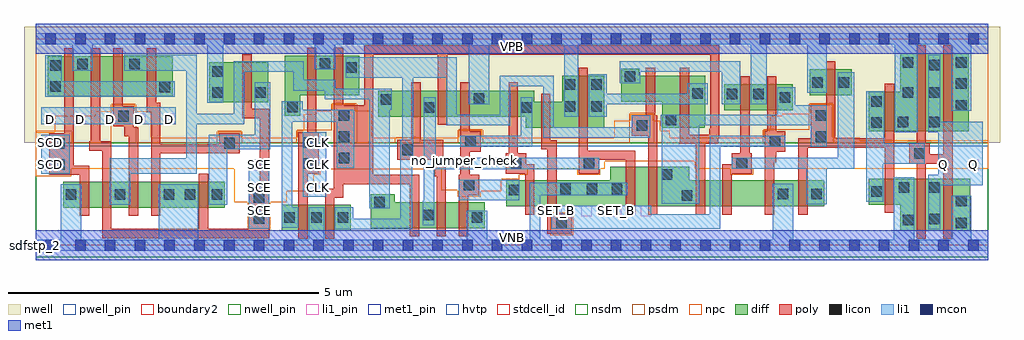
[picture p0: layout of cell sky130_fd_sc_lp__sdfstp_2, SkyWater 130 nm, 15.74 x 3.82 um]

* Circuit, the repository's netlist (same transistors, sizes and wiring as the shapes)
* Copyright 2020 The SkyWater PDK Authors
*
* Licensed under the Apache License, Version 2.0 (the "License");
* you may not use this file except in compliance with the License.
* You may obtain a copy of the License at
*
*     https://www.apache.org/licenses/LICENSE-2.0
*
* Unless required by applicable law or agreed to in writing, software
* distributed under the License is distributed on an "AS IS" BASIS,
* WITHOUT WARRANTIES OR CONDITIONS OF ANY KIND, either express or implied.
* See the License for the specific language governing permissions and
* limitations under the License.
*
* SPDX-License-Identifier: Apache-2.0

.SUBCKT sky130_fd_sc_lp__sdfstp_2 CLK D SCD SCE SET_B VGND VNB VPB VPWR Q
*.PININFO CLK:I D:I SCD:I SCE:I SET_B:I VGND:I VNB:I VPB:I VPWR:I Q:O
MI645 sceb SCE VPWR VPB sky130_fd_pr__pfet_01v8_hvt m=1 w=0.64U l=0.15U mult=1
+ sa=0.265 sb=0.265 sd=0.28 area=0.063 perim=1.14
MI658 M1 M0 VPWR VPB sky130_fd_pr__pfet_01v8_hvt m=1 w=0.42U l=0.15U mult=1 sa=0.265
+ sb=0.265 sd=0.28 area=0.063 perim=1.14
MI47 clkpos clkneg VPWR VPB sky130_fd_pr__pfet_01v8_hvt m=1 w=0.64U l=0.15U mult=1
+ sa=0.265 sb=0.265 sd=0.28 area=0.063 perim=1.14
MI663 net165 S0 VPWR VPB sky130_fd_pr__pfet_01v8_hvt m=1 w=0.64U l=0.15U mult=1
+ sa=0.265 sb=0.265 sd=0.28 area=0.063 perim=1.14
MI660 Q net165 VPWR VPB sky130_fd_pr__pfet_01v8_hvt m=2 w=1.26U l=0.15U mult=1
+ sa=0.265 sb=0.265 sd=0.28 area=0.063 perim=1.14
MI659 M1 SET_B VPWR VPB sky130_fd_pr__pfet_01v8_hvt m=1 w=0.42U l=0.15U mult=1
+ sa=0.265 sb=0.265 sd=0.28 area=0.063 perim=1.14
MI662 net109 M1 VPWR VPB sky130_fd_pr__pfet_01v8_hvt m=1 w=0.42U l=0.15U mult=1
+ sa=0.265 sb=0.265 sd=0.28 area=0.063 perim=1.14
MI664 M0 clkneg net109 VPB sky130_fd_pr__pfet_01v8_hvt m=1 w=0.42U l=0.15U mult=1
+ sa=0.265 sb=0.265 sd=0.28 area=0.063 perim=1.14
MI6 net96 S1 VPWR VPB sky130_fd_pr__pfet_01v8_hvt m=1 w=0.42U l=0.15U mult=1 sa=0.265
+ sb=0.265 sd=0.28 area=0.063 perim=1.14
MI669 S0 clkpos net96 VPB sky130_fd_pr__pfet_01v8_hvt m=1 w=0.42U l=0.15U mult=1
+ sa=0.265 sb=0.265 sd=0.28 area=0.063 perim=1.14
MI24 S0 SET_B VPWR VPB sky130_fd_pr__pfet_01v8_hvt m=1 w=0.42U l=0.15U mult=1 sa=0.265
+ sb=0.265 sd=0.28 area=0.063 perim=1.14
MI648 S1 S0 VPWR VPB sky130_fd_pr__pfet_01v8_hvt m=1 w=0.42U l=0.15U mult=1 sa=0.265
+ sb=0.265 sd=0.28 area=0.063 perim=1.14
MI38 S0 clkneg net84 VPB sky130_fd_pr__pfet_01v8_hvt m=1 w=0.84U l=0.15U mult=1
+ sa=0.265 sb=0.265 sd=0.28 area=0.063 perim=1.14
MI37 net84 M0 VPWR VPB sky130_fd_pr__pfet_01v8_hvt m=1 w=0.84U l=0.15U mult=1 sa=0.265
+ sb=0.265 sd=0.28 area=0.063 perim=1.14
MI43 db clkpos M0 VPB sky130_fd_pr__pfet_01v8_hvt m=1 w=0.42U l=0.15U mult=1 sa=0.265
+ sb=0.265 sd=0.28 area=0.063 perim=1.14
MI45 clkneg CLK VPWR VPB sky130_fd_pr__pfet_01v8_hvt m=1 w=0.64U l=0.15U mult=1
+ sa=0.265 sb=0.265 sd=0.28 area=0.063 perim=1.14
MI101 db sceb p1 VPB sky130_fd_pr__pfet_01v8_hvt m=1 w=0.64U l=0.15U mult=1 sa=0.265
+ sb=0.265 sd=0.28 area=0.063 perim=1.14
MI107 p0 SCE VPWR VPB sky130_fd_pr__pfet_01v8_hvt m=1 w=0.64U l=0.15U mult=1 sa=0.265
+ sb=0.265 sd=0.28 area=0.063 perim=1.14
MI94 db D p0 VPB sky130_fd_pr__pfet_01v8_hvt m=1 w=0.64U l=0.15U mult=1 sa=0.265
+ sb=0.265 sd=0.28 area=0.063 perim=1.14
MI108 p1 SCD VPWR VPB sky130_fd_pr__pfet_01v8_hvt m=1 w=0.64U l=0.15U mult=1 sa=0.265
+ sb=0.265 sd=0.28 area=0.063 perim=1.14
MI34 S0 clkpos net189 VNB sky130_fd_pr__nfet_01v8 m=1 w=0.64U l=0.15U mult=1 sa=0.265
+ sb=0.265 sd=0.28 area=0.063 perim=1.14
MI27 net209 S1 net157 VNB sky130_fd_pr__nfet_01v8 m=1 w=0.42U l=0.15U mult=1 sa=0.265
+ sb=0.265 sd=0.28 area=0.063 perim=1.14
MI647 S1 S0 VGND VNB sky130_fd_pr__nfet_01v8 m=1 w=0.42U l=0.15U mult=1 sa=0.265
+ sb=0.265 sd=0.28 area=0.063 perim=1.14
MI655 M0 clkpos net200 VNB sky130_fd_pr__nfet_01v8 m=1 w=0.42U l=0.15U mult=1 sa=0.265
+ sb=0.265 sd=0.28 area=0.063 perim=1.14
MI656 M1 M0 net169 VNB sky130_fd_pr__nfet_01v8 m=1 w=0.42U l=0.15U mult=1 sa=0.265
+ sb=0.265 sd=0.28 area=0.063 perim=1.14
MI654 net200 M1 VGND VNB sky130_fd_pr__nfet_01v8 m=1 w=0.42U l=0.15U mult=1 sa=0.265
+ sb=0.265 sd=0.28 area=0.063 perim=1.14
MI36 net189 M0 VGND VNB sky130_fd_pr__nfet_01v8 m=1 w=0.64U l=0.15U mult=1 sa=0.265
+ sb=0.265 sd=0.28 area=0.063 perim=1.14
MI26 S0 clkneg net209 VNB sky130_fd_pr__nfet_01v8 m=1 w=0.42U l=0.15U mult=1 sa=0.265
+ sb=0.265 sd=0.28 area=0.063 perim=1.14
MI42 db clkneg M0 VNB sky130_fd_pr__nfet_01v8 m=1 w=0.42U l=0.15U mult=1 sa=0.265
+ sb=0.265 sd=0.28 area=0.063 perim=1.14
MI46 clkpos clkneg VGND VNB sky130_fd_pr__nfet_01v8 m=1 w=0.42U l=0.15U mult=1
+ sa=0.265 sb=0.265 sd=0.28 area=0.063 perim=1.14
MI44 clkneg CLK VGND VNB sky130_fd_pr__nfet_01v8 m=1 w=0.42U l=0.15U mult=1 sa=0.265
+ sb=0.265 sd=0.28 area=0.063 perim=1.14
MI657 net169 SET_B VGND VNB sky130_fd_pr__nfet_01v8 m=1 w=0.42U l=0.15U mult=1
+ sa=0.265 sb=0.265 sd=0.28 area=0.063 perim=1.14
MI652 net165 S0 VGND VNB sky130_fd_pr__nfet_01v8 m=1 w=0.42U l=0.15U mult=1 sa=0.265
+ sb=0.265 sd=0.28 area=0.063 perim=1.14
MI644 sceb SCE VGND VNB sky130_fd_pr__nfet_01v8 m=1 w=0.42U l=0.15U mult=1 sa=0.265
+ sb=0.265 sd=0.28 area=0.063 perim=1.14
MI25 net157 SET_B VGND VNB sky130_fd_pr__nfet_01v8 m=1 w=0.42U l=0.15U mult=1 sa=0.265
+ sb=0.265 sd=0.28 area=0.063 perim=1.14
MI653 Q net165 VGND VNB sky130_fd_pr__nfet_01v8 m=2 w=0.84U l=0.15U mult=1 sa=0.265
+ sb=0.265 sd=0.28 area=0.063 perim=1.14
MI98 db D n0 VNB sky130_fd_pr__nfet_01v8 m=1 w=0.42U l=0.15U mult=1 sa=0.265 sb=0.265
+ sd=0.28 area=0.525 perim=3.1
MI103 n1 SCD VGND VNB sky130_fd_pr__nfet_01v8 m=1 w=0.42U l=0.15U mult=1 sa=0.265
+ sb=0.265 sd=0.28 area=0.525 perim=3.1
MI120 db SCE n1 VNB sky130_fd_pr__nfet_01v8 m=1 w=0.42U l=0.15U mult=1 sa=0.265
+ sb=0.265 sd=0.28 area=0.525 perim=3.1
MI104 n0 sceb VGND VNB sky130_fd_pr__nfet_01v8 m=1 w=0.42U l=0.15U mult=1 sa=0.265
+ sb=0.265 sd=0.28 area=0.525 perim=3.1
.ENDS sky130_fd_sc_lp__sdfstp_2

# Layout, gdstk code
import gdstk
lib = gdstk.Library(unit=1e-6, precision=1e-09)
def R(c, l, rs):  # rectangles x0, y0, x1, y1
    for r in rs: c.add(gdstk.rectangle(r[:2], r[2:], *l))
def A(c, l, x, y, w, h, nx, ny, dx, dy):  # array of equal rectangles
    R(c, l, [(x+i*dx, y+j*dy, x+i*dx+w, y+j*dy+h) for i in range(nx) for j in range(ny)])
def P(c, l, *ps):  # polygons
    for p in ps: c.add(gdstk.Polygon(p, *l))
nwell_pin = (64, 16)
nwell = (64, 20)
diff = (65, 20)
poly = (66, 20)
licon = (66, 44)
li1_pin = (67, 16)
li1 = (67, 20)
mcon = (67, 44)
met1_pin = (68, 16)
met1 = (68, 20)
hvtp = (78, 44)
stdcell_id = (81, 4)
nsdm = (93, 44)
psdm = (94, 20)
npc = (95, 20)
pwell_pin = (122, 16)
boundary2 = (236, 0)

sky130_fd_sc_lp__sdfstp_ = lib.new_cell('sky130_fd_sc_lp__sdfstp_2')
R(sky130_fd_sc_lp__sdfstp_, nwell_pin, [(0,3.085,15.36,3.33)])
R(sky130_fd_sc_lp__sdfstp_, nwell, [(-0.19,1.655,15.55,3.52)])
R(sky130_fd_sc_lp__sdfstp_, diff, [(3.97,0.235,5.08,0.655), (0.445,0.605,3.045,1.025), (11.1,2.175,12.21,2.595), (2.795,2.31,3.745,2.95), (0.195,2.405,2.205,3.045), (12.48,2.415,13.16,2.835)])
P(sky130_fd_sc_lp__sdfstp_, diff, [(5.22,3.055),(4.015,3.055),(4.015,2.085),(4.265,2.085),(4.265,2.415),(5.22,2.415)],
  [(7.24,0.695),(5.79,0.695),(5.79,0.825),(5.4,0.825),(5.4,0.275),(7.24,0.275)],
  [(9.17,2.735),(8.49,2.735),(8.49,2.315),(8.04,2.315),(8.04,2.495),(5.52,2.495),(5.52,2.075),(7.9,2.075),(7.9,1.895),(9.17,1.895)],
  [(10.8,2.735),(9.73,2.735),(9.73,2.845),(9.44,2.845),(9.44,2.315),(10.1,2.315),(10.1,1.895),(10.785,1.895),(10.785,1.95),(10.8,1.95)],
  [(12.715,1.045),(10.535,1.045),(10.535,1.265),(9.265,1.265),(9.265,1.045),(7.585,1.045),(7.585,0.625),(12.715,0.625)],
  [(15.05,3.095),(13.94,3.095),(13.94,2.475),(13.43,2.475),(13.43,1.835),(15.05,1.835)],
  [(15.07,1.075),(13.43,1.075),(13.43,0.655),(13.94,0.655),(13.94,0.235),(15.07,0.235)])
P(sky130_fd_sc_lp__sdfstp_, poly, [(0.86,1.285),(0.61,1.285),(0.61,3.175),(0.46,3.175),(0.46,1.805),(0.22,1.805),(0.22,1.135),(0.71,1.135),(0.71,0.475),(0.86,0.475)],
  [(1.65,1.905),(1.58,1.905),(1.58,2.245),(1.4,2.245),(1.4,3.175),(1.25,3.175),(1.25,1.915),(1.43,1.915),(1.43,1.755),(1.5,1.755),(1.5,0.475),(1.65,0.475)],
  [(3.29,1.81),(2.96,1.81),(2.96,1.63),(2.01,1.63),(2.01,2.295),(1.94,2.295),(1.94,3.175),(1.79,3.175),(1.79,2.145),(1.86,2.145),(1.86,0.475),(2.01,0.475),(2.01,1.48),(3.29,1.48)],
  [(3.765,2.2),(3.48,2.2),(3.48,3.08),(3.33,3.08),(3.33,2.05),(3.615,2.05),(3.615,0.935),(3.435,0.935),(3.435,0.265),(2.78,0.265),(2.78,1.155),(2.63,1.155),(2.63,0.265),(1.22,0.265),(1.22,1.675),(1.04,1.675),(1.04,3.175),(0.89,3.175),(0.89,1.675),(0.86,1.675),(0.86,1.525),(1.07,1.525),(1.07,0.115),(3.765,0.115)],
  [(4.565,1.825),(4.525,1.825),(4.525,3.185),(4.375,3.185),(4.375,1.825),(4.235,1.825),(4.235,0.105),(4.385,0.105),(4.385,1.155),(4.565,1.155)],
  [(6.615,1.265),(6.575,1.265),(6.575,1.705),(6.205,1.705),(6.205,2.625),(6.055,2.625),(6.055,1.705),(5.83,1.705),(5.83,1.375),(6.425,1.375),(6.425,1.115),(6.465,1.115),(6.465,0.145),(6.615,0.145)],
  [(7.175,1.835),(6.995,1.835),(6.995,2.625),(6.845,2.625),(6.845,1.135),(6.825,1.135),(6.825,0.145),(6.975,0.145),(6.975,0.805),(7.155,0.805),(7.155,1.135),(6.995,1.135),(6.995,1.505),(7.175,1.505)],
  [(8.04,1.305),(7.91,1.305),(7.91,1.485),(7.775,1.485),(7.775,2.625),(7.625,2.625),(7.625,1.485),(7.58,1.485),(7.58,1.155),(7.89,1.155),(7.89,0.495),(8.04,0.495)],
  [(8.645,0.515),(8.4,0.515),(8.4,1.695),(8.3,1.695),(8.3,2.445),(8.15,2.445),(8.15,1.545),(8.25,1.545),(8.25,0.185),(8.645,0.185)],
  [(9.665,1.525),(8.905,1.525),(8.905,2.865),(8.755,2.865),(8.755,1.155),(9.085,1.155),(9.085,1.375),(9.515,1.375),(9.515,0.495),(9.665,0.495)],
  [(10.025,2.095),(9.99,2.095),(9.99,2.865),(9.84,2.865),(9.84,2.095),(9.61,2.095),(9.61,1.765),(9.875,1.765),(9.875,0.495),(10.025,0.495)],
  [(11.025,3.225),(5.295,3.225),(5.295,2.255),(4.955,2.255),(4.955,3.185),(4.805,3.185),(4.805,0.915),(4.665,0.915),(4.665,0.105),(4.815,0.105),(4.815,0.765),(4.955,0.765),(4.955,0.985),(6.035,0.985),(6.035,0.145),(6.185,0.145),(6.185,1.135),(5.445,1.135),(5.445,3.075),(6.485,3.075),(6.485,1.945),(6.635,1.945),(6.635,3.075),(10.875,3.075),(10.875,1.875),(10.86,1.875),(10.86,1.785),(10.535,1.785),(10.535,2.865),(10.385,2.865),(10.385,1.635),(10.645,1.635),(10.645,0.495),(10.795,0.495),(10.795,1.635),(11.01,1.635),(11.01,1.725),(11.025,1.725)],
  [(11.55,1.485),(11.515,1.485),(11.515,2.725),(11.365,2.725),(11.365,1.485),(11.22,1.485),(11.22,1.305),(11.07,1.305),(11.07,0.495),(11.22,0.495),(11.22,1.155),(11.55,1.155)],
  [(12.09,1.835),(11.945,1.835),(11.945,2.725),(11.795,2.725),(11.795,1.835),(11.76,1.835),(11.76,0.495),(11.91,0.495),(11.91,1.335),(11.94,1.335),(11.94,1.505),(12.09,1.505)],
  [(13.845,2.605),(13.695,2.605),(13.695,1.725),(12.895,1.725),(12.895,2.965),(12.745,2.965),(12.745,2.255),(12.5,2.255),(12.5,1.725),(12.3,1.725),(12.3,0.495),(12.45,0.495),(12.45,1.575),(13.695,1.575),(13.695,0.525),(13.845,0.525)],
  [(14.785,3.225),(14.635,3.225),(14.635,1.465),(14.415,1.465),(14.415,1.645),(14.355,1.645),(14.355,3.225),(14.205,3.225),(14.205,1.645),(14.085,1.645),(14.085,1.315),(14.205,1.315),(14.205,0.105),(14.355,0.105),(14.355,1.315),(14.635,1.315),(14.635,0.105),(14.785,0.105)])
A(sky130_fd_sc_lp__sdfstp_, licon, 4.01, 0.36, 0.17, 0.17, 3, 1, 0.43, 0)
A(sky130_fd_sc_lp__sdfstp_, licon, 0.485, 0.73, 0.17, 0.17, 3, 1, 0.79, 0)
A(sky130_fd_sc_lp__sdfstp_, licon, 4.885, 1.325, 0.17, 0.17, 1, 3, 0, 0.34)
R(sky130_fd_sc_lp__sdfstp_, licon, [(8.395,0.265,8.565,0.435), (14.84,0.275,15.01,0.445), (13.98,0.325,14.15,0.495), (14.41,0.335,14.58,0.505), (3.515,0.345,3.685,0.515), (7.03,0.36,7.2,0.53), (6.24,0.405,6.41,0.575), (5.46,0.615,5.63,0.785), (14.84,0.625,15.01,0.795), (3.515,0.685,3.685,0.855), (10.42,0.715,10.59,0.885), (2.405,0.73,2.575,0.9), (2.835,0.73,3.005,0.9), (11.965,0.745,12.135,0.915), (12.505,0.745,12.675,0.915), (13.47,0.78,13.64,0.95), (7.625,0.805,7.795,0.975), (8.455,0.82,8.625,0.99), (8.885,0.82,9.055,0.99), (9.29,0.82,9.46,0.99), (13.92,0.845,14.09,1.015), (14.41,0.845,14.58,1.015), (6.905,0.885,7.075,1.055), (10.095,1.055,10.265,1.225), (0.3,1.215,0.47,1.385), (4.315,1.235,4.485,1.405), (7.66,1.235,7.83,1.405), (8.835,1.235,9.005,1.405), (11.3,1.235,11.47,1.405), (14.165,1.395,14.335,1.565), (5.91,1.455,6.08,1.625), (0.3,1.555,0.47,1.725), (3.04,1.56,3.21,1.73), (4.315,1.575,4.485,1.745), (6.925,1.585,7.095,1.755), (11.84,1.585,12.01,1.755), (12.58,1.665,12.75,1.835), (9.69,1.845,9.86,2.015), (13.47,1.895,13.64,2.065), (13.9,1.905,14.07,2.075), (14.41,1.905,14.58,2.075), (10.16,1.935,10.33,2.105), (1.33,1.995,1.5,2.165), (12.58,2.005,12.75,2.175), (6.26,2.135,6.43,2.305), (7.83,2.135,8,2.305), (4.055,2.145,4.225,2.315), (8.53,2.155,8.7,2.325), (8.96,2.155,9.13,2.325), (14.84,2.165,15.01,2.335), (13.47,2.235,13.64,2.405), (5.56,2.265,5.73,2.435), (7.06,2.285,7.23,2.455), (12,2.3,12.17,2.47), (11.14,2.355,11.31,2.525), (11.57,2.355,11.74,2.525), (10.59,2.365,10.76,2.535), (14.41,2.375,14.58,2.545), (2.845,2.38,3.015,2.55), (3.535,2.38,3.705,2.55), (13.98,2.38,14.15,2.55), (1.995,2.465,2.165,2.635), (0.235,2.475,0.405,2.645), (8.53,2.505,8.7,2.675), (8.96,2.505,9.13,2.675), (14.84,2.525,15.01,2.695), (12.52,2.54,12.69,2.71), (12.95,2.54,13.12,2.71), (9.5,2.635,9.67,2.805), (2.845,2.72,3.015,2.89), (5.01,2.785,5.18,2.955), (0.235,2.815,0.405,2.985), (14.41,2.825,14.58,2.995), (0.665,2.835,0.835,3.005), (1.51,2.835,1.68,3.005), (4.58,2.845,4.75,3.015), (13.98,2.865,14.15,3.035), (14.84,2.865,15.01,3.035)])
A(sky130_fd_sc_lp__sdfstp_, li1_pin, 3.515, 0.47, 0.17, 0.17, 1, 3, 0, 0.37)
A(sky130_fd_sc_lp__sdfstp_, li1_pin, 8.315, 0.47, 0.17, 0.17, 4, 1, 0.48, 0)
A(sky130_fd_sc_lp__sdfstp_, li1_pin, 4.475, 0.84, 0.17, 0.17, 1, 3, 0, 0.37)
A(sky130_fd_sc_lp__sdfstp_, li1_pin, 0.155, 1.95, 0.17, 0.17, 5, 1, 0.48, 0)
R(sky130_fd_sc_lp__sdfstp_, li1_pin, [(0.155,1.21,0.325,1.38), (14.555,1.21,14.725,1.38), (15.035,1.21,15.205,1.38), (0.155,1.58,0.325,1.75)])
R(sky130_fd_sc_lp__sdfstp_, li1, [(3.435,0.265,3.765,1.38), (6.825,0.725,7.795,1.055), (4.305,0.78,4.685,1.825), (0.085,1.15,0.55,1.78), (0.085,1.95,2.255,2.225)])
P(sky130_fd_sc_lp__sdfstp_, li1, [(3.535,1.78),(3.535,2.63),(3.785,2.63),(3.785,1.55),(3.085,1.55),(3.085,0.65),(2.79,0.65),(2.79,1.78)],
  [(6.98,2.275),(6.98,3.245),(4.83,3.245),(4.83,2.835),(4.5,2.835),(4.5,3.245),(3.025,3.245),(3.025,2.3),(2.765,2.3),(2.765,3.245),(0.915,3.245),(0.915,2.815),(0.585,2.815),(0.585,3.245),(0,3.245),(0,3.415),(15.36,3.415),(15.36,3.245),(15.09,3.245),(15.09,2.165),(14.76,2.165),(14.76,3.245),(14.22,3.245),(14.22,1.825),(13.855,1.825),(13.855,3.245),(12.76,3.245),(12.76,2.46),(12.44,2.46),(12.44,3.245),(11.785,3.245),(11.785,2.275),(11.53,2.275),(11.53,3.245),(8.745,3.245),(8.745,2.075),(8.52,2.075),(8.52,3.245),(7.31,3.245),(7.31,2.275)],
  [(0.405,0.085),(0.405,0.98),(0.735,0.98),(0.735,0.085),(1.985,0.085),(1.985,0.98),(2.62,0.98),(2.62,0.085),(4.4,0.085),(4.4,0.61),(4.655,0.61),(4.655,0.085),(6.95,0.085),(6.95,0.555),(7.28,0.555),(7.28,0.085),(7.965,0.085),(7.965,1.01),(9.54,1.01),(9.54,0.81),(8.135,0.81),(8.135,0.085),(11.885,0.085),(11.885,0.995),(12.215,0.995),(12.215,0.085),(13.84,0.085),(13.84,1.095),(14.17,1.095),(14.17,0.085),(14.76,0.085),(14.76,0.795),(15.09,0.795),(15.09,0.085),(15.36,0.085),(15.36,-0.085),(0,-0.085),(0,0.085)],
  [(14.39,1.825),(14.39,3.075),(14.59,3.075),(14.59,1.995),(15.275,1.995),(15.275,0.965),(14.59,0.965),(14.59,0.255),(14.39,0.255),(14.39,1.135),(14.555,1.135),(14.555,1.825)],
  [(7.48,2.735),(8.35,2.735),(8.35,1.905),(9.61,1.905),(9.61,2.095),(9.91,2.095),(9.91,1.735),(8.18,1.735),(8.18,2.565),(7.65,2.565),(7.65,1.935),(6.62,1.935),(6.62,2.705),(6.09,2.705),(6.09,1.375),(6.07,1.375),(6.07,0.255),(4.825,0.255),(4.825,0.61),(5.12,0.61),(5.12,0.425),(5.88,0.425),(5.88,1.705),(5.91,1.705),(5.91,2.705),(5,2.705),(5,3.035),(6.79,3.035),(6.79,2.105),(7.48,2.105)],
  [(13.685,1.645),(14.335,1.645),(14.335,1.315),(13.67,1.315),(13.67,0.7),(13.39,0.7),(13.39,2.485),(13.685,2.485)],
  [(12.09,1.765),(10.87,1.765),(10.87,0.5),(9.925,0.5),(9.925,0.64),(8.315,0.64),(8.315,0.265),(11.04,0.265),(11.04,1.585),(12.09,1.585)],
  [(12.755,1.235),(12.755,0.665),(12.425,0.665),(12.425,1.235),(11.22,1.235),(11.22,1.415),(12.93,1.415),(12.93,2.79),(13.2,2.79),(13.2,1.235)],
  [(10.7,1.935),(10.7,0.67),(10.095,0.67),(10.095,1.915),(10.08,1.915),(10.08,2.105),(11.955,2.105),(11.955,2.55),(12.25,2.55),(12.25,2.255),(12.76,2.255),(12.76,1.585),(12.5,1.585),(12.5,1.935)],
  [(11.06,2.795),(9.75,2.795),(9.75,2.615),(9.42,2.615),(9.42,2.965),(11.36,2.965),(11.36,2.275),(11.06,2.275)],
  [(9.21,2.445),(10.51,2.445),(10.51,2.615),(10.84,2.615),(10.84,2.275),(9.21,2.275),(9.21,2.075),(8.915,2.075),(8.915,2.755),(9.21,2.755)],
  [(6.845,1.585),(6.845,1.765),(7.82,1.765),(7.82,2.385),(8.01,2.385),(8.01,1.585)],
  [(6.45,1.415),(9.085,1.415),(9.085,1.225),(6.43,1.225),(6.43,0.325),(6.24,0.325),(6.24,0.715),(6.26,0.715),(6.26,2.385),(6.45,2.385)],
  [(4.66,2.355),(4.66,2.495),(4.15,2.495),(4.15,2.8),(3.365,2.8),(3.365,1.95),(2.595,1.95),(2.595,1.15),(1.525,1.15),(1.525,0.65),(1.195,0.65),(1.195,1.405),(2.425,1.405),(2.425,2.815),(1.43,2.815),(1.43,3.075),(2.595,3.075),(2.595,2.12),(3.195,2.12),(3.195,2.97),(4.32,2.97),(4.32,2.665),(4.83,2.665),(4.83,2.525),(5.74,2.525),(5.74,2.185),(5.71,2.185),(5.71,0.595),(5.38,0.595),(5.38,2.355)],
  [(5.135,2.185),(4.305,2.185),(4.305,2.325),(3.965,2.325),(3.965,0.28),(4.23,0.28),(4.23,0.61),(4.135,0.61),(4.135,1.995),(4.855,1.995),(4.855,1.245),(5.135,1.245)],
  [(0.415,2.645),(2.245,2.645),(2.245,2.395),(0.155,2.395),(0.155,3.065),(0.415,3.065)])
A(sky130_fd_sc_lp__sdfstp_, mcon, 0.155, -0.085, 0.17, 0.17, 32, 2, 0.48, 3.33)
R(sky130_fd_sc_lp__sdfstp_, met1_pin, [(0,0,15.36,0.245), (0,3.085,15.36,3.33)])
R(sky130_fd_sc_lp__sdfstp_, met1, [(0,-0.245,15.36,0.245), (0,3.085,15.36,3.575)])
R(sky130_fd_sc_lp__sdfstp_, hvtp, [(0,1.6,15.36,3.33)])
R(sky130_fd_sc_lp__sdfstp_, stdcell_id, [(0,0,15.36,3.33)])
R(sky130_fd_sc_lp__sdfstp_, nsdm, [(0,-0.19,15.36,1.655)])
P(sky130_fd_sc_lp__sdfstp_, psdm, [(15.36,3.52),(0,3.52),(0,1.835),(0.58,1.835),(0.58,1.655),(1.22,1.655),(1.22,2.275),(1.61,2.275),(1.61,1.655),(2.93,1.655),(2.93,1.84),(3.32,1.84),(3.32,1.655),(4.205,1.655),(4.205,1.855),(4.775,1.855),(4.775,2.285),(5.18,2.285),(5.18,1.655),(5.8,1.655),(5.8,1.735),(6.19,1.735),(6.19,1.655),(6.815,1.655),(6.815,1.865),(7.205,1.865),(7.205,1.655),(9.58,1.655),(9.58,2.125),(9.97,2.125),(9.97,1.655),(11.73,1.655),(11.73,1.865),(12.47,1.865),(12.47,2.285),(12.86,2.285),(12.86,1.655),(14.055,1.655),(14.055,1.675),(14.445,1.675),(14.445,1.655),(15.36,1.655)])
R(sky130_fd_sc_lp__sdfstp_, npc, [(8.295,0.165,8.665,0.535)])
P(sky130_fd_sc_lp__sdfstp_, npc, [(15.36,1.695),(13.29,1.695),(13.29,1.73),(12.85,1.73),(12.85,2.275),(12.48,2.275),(12.48,2.12),(12.035,2.12),(12.035,2.085),(11.845,2.085),(11.845,1.855),(11.74,1.855),(11.74,1.73),(10.225,1.73),(10.225,1.845),(10.07,1.845),(10.07,2.01),(9.96,2.01),(9.96,2.115),(9.59,2.115),(9.59,2.01),(9.325,2.01),(9.325,1.73),(7.195,1.73),(7.195,1.855),(6.825,1.855),(6.825,1.73),(5.42,1.73),(5.42,2.17),(5.155,2.17),(5.155,2.275),(4.785,2.275),(4.785,2.17),(4.52,2.17),(4.52,2.11),(4.32,2.11),(4.32,1.845),(4.215,1.845),(4.215,1.73),(3.31,1.73),(3.31,1.83),(2.94,1.83),(2.94,1.73),(1.865,1.73),(1.865,2.16),(1.6,2.16),(1.6,2.265),(1.23,2.265),(1.23,2.16),(0.965,2.16),(0.965,2.09),(0.305,2.09),(0.305,1.825),(0,1.825),(0,1.115),(0.57,1.115),(0.57,1.23),(3.2,1.23),(3.2,0.69),(3.415,0.69),(3.415,0.225),(3.785,0.225),(3.785,0.69),(4.05,0.69),(4.05,0.87),(4.48,0.87),(4.48,1.135),(4.585,1.135),(4.585,1.225),(6.54,1.225),(6.54,0.89),(6.805,0.89),(6.805,0.785),(7.175,0.785),(7.175,0.87),(7.505,0.87),(7.505,1.065),(7.8,1.065),(7.8,1.135),(7.93,1.135),(7.93,1.23),(8.735,1.23),(8.735,1.135),(9.105,1.135),(9.105,1.23),(9.175,1.23),(9.175,1.355),(10.625,1.355),(10.625,1.23),(11.2,1.23),(11.2,1.135),(11.57,1.135),(11.57,1.23),(15.36,1.23)])
R(sky130_fd_sc_lp__sdfstp_, pwell_pin, [(0,0,15.36,0.245)])
R(sky130_fd_sc_lp__sdfstp_, boundary2, [(0,0,15.36,3.33)])
sky130_fd_sc_lp__sdfstp_.add(gdstk.Label('VNB', (7.68,0.123), layer=64, texttype=59))
sky130_fd_sc_lp__sdfstp_.add(gdstk.Label('VPB', (7.68,3.208), layer=64, texttype=5))
sky130_fd_sc_lp__sdfstp_.add(gdstk.Label('sdfstp_2', (0,0), layer=83, texttype=44))
sky130_fd_sc_lp__sdfstp_.add(gdstk.Label('no_jumper_check', (6.91,1.36), layer=83, texttype=44))
sky130_fd_sc_lp__sdfstp_.add(gdstk.Label('VPWR', (7.68,3.208), layer=68, texttype=5))
sky130_fd_sc_lp__sdfstp_.add(gdstk.Label('VGND', (7.68,0.123), layer=68, texttype=5))
sky130_fd_sc_lp__sdfstp_.add(gdstk.Label('CLK', (4.56,0.925), layer=67, texttype=5))
sky130_fd_sc_lp__sdfstp_.add(gdstk.Label('CLK', (4.56,1.295), layer=67, texttype=5))
sky130_fd_sc_lp__sdfstp_.add(gdstk.Label('CLK', (4.56,1.665), layer=67, texttype=5))
sky130_fd_sc_lp__sdfstp_.add(gdstk.Label('SCE', (3.6,0.555), layer=67, texttype=5))
sky130_fd_sc_lp__sdfstp_.add(gdstk.Label('SCE', (3.6,0.925), layer=67, texttype=5))
sky130_fd_sc_lp__sdfstp_.add(gdstk.Label('SCE', (3.6,1.295), layer=67, texttype=5))
sky130_fd_sc_lp__sdfstp_.add(gdstk.Label('SCD', (0.24,1.295), layer=67, texttype=5))
sky130_fd_sc_lp__sdfstp_.add(gdstk.Label('SCD', (0.24,1.665), layer=67, texttype=5))
sky130_fd_sc_lp__sdfstp_.add(gdstk.Label('D', (0.24,2.035), layer=67, texttype=5))
sky130_fd_sc_lp__sdfstp_.add(gdstk.Label('D', (0.72,2.035), layer=67, texttype=5))
sky130_fd_sc_lp__sdfstp_.add(gdstk.Label('D', (1.2,2.035), layer=67, texttype=5))
sky130_fd_sc_lp__sdfstp_.add(gdstk.Label('D', (1.68,2.035), layer=67, texttype=5))
sky130_fd_sc_lp__sdfstp_.add(gdstk.Label('D', (2.16,2.035), layer=67, texttype=5))
sky130_fd_sc_lp__sdfstp_.add(gdstk.Label('Q', (14.64,1.295), layer=67, texttype=5))
sky130_fd_sc_lp__sdfstp_.add(gdstk.Label('Q', (15.12,1.295), layer=67, texttype=5))
sky130_fd_sc_lp__sdfstp_.add(gdstk.Label('SET_B', (8.4,0.555), layer=67, texttype=5))
sky130_fd_sc_lp__sdfstp_.add(gdstk.Label('SET_B', (8.88,0.555), layer=67, texttype=5))
sky130_fd_sc_lp__sdfstp_.add(gdstk.Label('SET_B', (9.36,0.555), layer=67, texttype=5))
sky130_fd_sc_lp__sdfstp_.add(gdstk.Label('SET_B', (9.84,0.555), layer=67, texttype=5))

lib.write_gds('sky130_fd_sc_lp__sdfstp_2.gds')
